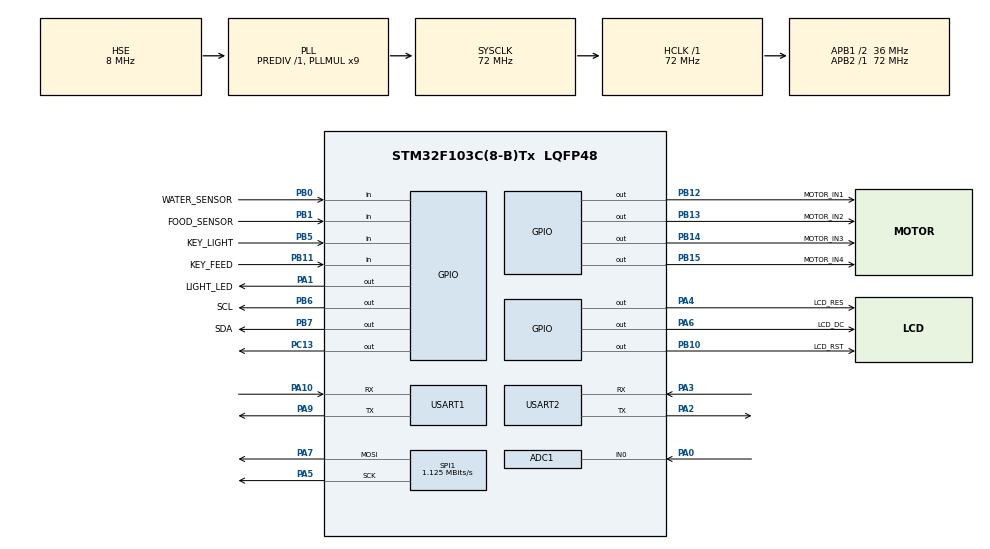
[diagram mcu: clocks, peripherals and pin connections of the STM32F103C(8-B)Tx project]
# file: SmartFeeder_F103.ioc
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ADC1.Channel-0\#ChannelRegularConversion=ADC_CHANNEL_0
ADC1.NbrOfConversionFlag=1
ADC1.Rank-0\#ChannelRegularConversion=1
ADC1.SamplingTime-0\#ChannelRegularConversion=ADC_SAMPLETIME_1CYCLE_5
ADC1.master=1
Mcu.Family=STM32F1
Mcu.Name=STM32F103C(8-B)Tx
Mcu.Package=LQFP48
NVIC.PriorityGroup=NVIC_PRIORITYGROUP_4
NVIC.USART1_IRQn=true\:0\:0\:false\:false\:true\:true\:true\:true
PA0-WKUP.Signal=ADCx_IN0
PA1.GPIO_Label=LIGHT_LED
PA1.Signal=GPIO_Output
PA10.Mode=Asynchronous
PA10.Signal=USART1_RX
PA13.Mode=Serial_Wire
PA13.Signal=SYS_JTMS-SWDIO
PA14.Mode=Serial_Wire
PA14.Signal=SYS_JTCK-SWCLK
PA2.Mode=Asynchronous
PA2.Signal=USART2_TX
PA3.Mode=Asynchronous
PA3.Signal=USART2_RX
PA4.GPIO_Label=LCD_RES
PA4.Signal=GPIO_Output
PA5.Mode=TX_Only_Simplex_Unidirect_Master
PA5.Signal=SPI1_SCK
PA6.GPIO_Label=LCD_DC
PA6.Signal=GPIO_Output
PA7.Mode=TX_Only_Simplex_Unidirect_Master
PA7.Signal=SPI1_MOSI
PA9.Mode=Asynchronous
PA9.Signal=USART1_TX
PB0.GPIO_Label=WATER_SENSOR
PB0.Signal=GPIO_Input
PB1.GPIO_Label=FOOD_SENSOR
PB1.Signal=GPIO_Input
PB10.GPIO_Label=LCD_RST
PB10.Signal=GPIO_Output
PB11.GPIO_Label=KEY_FEED
PB11.GPIO_PuPd=GPIO_PULLUP
PB11.Signal=GPIO_Input
PB12.GPIO_Label=MOTOR_IN1
PB12.Signal=GPIO_Output
PB13.GPIO_Label=MOTOR_IN2
PB13.Signal=GPIO_Output
PB14.GPIO_Label=MOTOR_IN3
PB14.Signal=GPIO_Output
PB15.GPIO_Label=MOTOR_IN4
PB15.Signal=GPIO_Output
PB5.GPIO_Label=KEY_LIGHT
PB5.GPIO_PuPd=GPIO_PULLUP
PB5.Signal=GPIO_Input
PB6.GPIO_Label=SCL
PB6.GPIO_ModeDefaultOutputPP=GPIO_MODE_OUTPUT_OD
PB6.GPIO_PuPd=GPIO_PULLUP
PB6.Signal=GPIO_Output
PB7.GPIO_Label=SDA
PB7.GPIO_ModeDefaultOutputPP=GPIO_MODE_OUTPUT_OD
PB7.GPIO_PuPd=GPIO_PULLUP
PB7.Signal=GPIO_Output
PC13-TAMPER-RTC.PinState=GPIO_PIN_SET
PC13-TAMPER-RTC.Signal=GPIO_Output
PD0-OSC_IN.Mode=HSE-External-Oscillator
PD0-OSC_IN.Signal=RCC_OSC_IN
PD1-OSC_OUT.Mode=HSE-External-Oscillator
PD1-OSC_OUT.Signal=RCC_OSC_OUT
ProjectManager.HeapSize=0x200
ProjectManager.StackSize=0x400
ProjectManager.TargetToolchain=MDK-ARM V5.32
RCC.ADCPresc=RCC_ADCPCLK2_DIV6
RCC.AHBFreq_Value=72000000
RCC.APB1CLKDivider=RCC_HCLK_DIV2
RCC.APB1Freq_Value=36000000
RCC.APB1TimFreq_Value=72000000
RCC.APB2Freq_Value=72000000
RCC.APB2TimFreq_Value=72000000
RCC.HCLKFreq_Value=72000000
RCC.PLLMUL=RCC_PLL_MUL9
RCC.PLLSourceVirtual=RCC_PLLSOURCE_HSE
RCC.SYSCLKFreq_VALUE=72000000
RCC.SYSCLKSource=RCC_SYSCLKSOURCE_PLLCLK
RCC.USBFreq_Value=72000000
RTC.Date=22
RTC.Format=RTC_FORMAT_BIN
RTC.Month=RTC_MONTH_APRIL
RTC.WeekDay=RTC_WEEKDAY_WEDNESDAY
RTC.Year=26
SH.ADCx_IN0.0=ADC1_IN0,IN0
SPI1.BaudRatePrescaler=SPI_BAUDRATEPRESCALER_64
SPI1.CLKPhase=SPI_PHASE_1EDGE
SPI1.CLKPolarity=SPI_POLARITY_LOW
SPI1.CalculateBaudRate=1.125 MBits/s
SPI1.Direction=SPI_DIRECTION_2LINES
SPI1.Mode=SPI_MODE_MASTER
SPI1.VirtualType=VM_MASTER
USART1.VirtualMode=VM_ASYNC
USART2.VirtualMode=VM_ASYNC
VP_RTC_VS_RTC_Activate.Mode=RTC_Enabled
VP_RTC_VS_RTC_Calendar.Mode=RTC_Calendar
board=custom

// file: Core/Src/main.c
/* USER CODE BEGIN Header */
/**
  ******************************************************************************
  * @file           : main.c
  * @brief          : Main program body
  ******************************************************************************
  * @attention
  *
  * Copyright (c) 2026 STMicroelectronics.
  * All rights reserved.
  *
  * This software is licensed under terms that can be found in the LICENSE file
  * in the root directory of this software component.
  * If no LICENSE file comes with this software, it is provided AS-IS.
  *
  ******************************************************************************
  */
/* USER CODE END Header */
#include "main.h"
#include "adc.h"
#include "rtc.h"
#include "spi.h"
#include "usart.h"
#include "gpio.h"

/* USER CODE BEGIN Includes */
#include "bh1750.h"
#include "Lcd_Driver.h"
#include "GUI.h"
#include "dma.h"
#include "esp8266.h"
#include "mqtt.h"
#include "light.h"
#include "motor_28byj.h"
#include "key.h"
#include <stdio.h>
#include <string.h>
#include <stdlib.h>   /* atoi (为下行 feed 命令解 amount 数值) */
/* USER CODE END Includes */

/* USER CODE BEGIN PD */
/* 自动补光阈值 (带迟滞, 防止临界抖动):
 *   lux < LOW  时开灯; lux > HIGH 时关灯
 *   中间区间保持当前状态, 避免 50±50 lux 闪灵时反复开关 */
#define AUTO_LIGHT_LUX_LOW   50.0f
#define AUTO_LIGHT_LUX_HIGH  150.0f

/* 自动喂食冷却时间 (ms): 触发一次后至少等这么久才允许再次自动投喂,
 * 防止食物刚投下还没被传感器检测到就再投一次 */
#define AUTO_FEED_COOLDOWN_MS  60000U   /* 60 秒 */
#define AUTO_FEED_GRAMS        30U      /* 每次自动投喂克数 */
#define PET_CONFIRM_COUNT      5U       /* 连续收到多少帧宠物识别才确认有宠物 */
/* USER CODE END PD */

/* USER CODE BEGIN PV */
/* K210 AI frame state machine: [0xAA, ID, 0x55] */
static uint8_t ai_rx_byte     = 0;
static uint8_t ai_rx_state    = 0;
static uint8_t ai_animal_id   = 0xFF;
static volatile uint8_t  ai_pet_detected  = 0;
static volatile uint8_t  ai_latched_id    = 0xFF; /* 中断中锁存的 ID, 防竞态 */
static uint8_t  ai_detect_count   = 0;   /* 连续识别计数 */
static uint8_t  ai_pet_confirmed  = 0;   /* 1=多帧确认有宠物 */

/* DMA 接收缓冲 + 空闲中断标志 (仿 sht_monitor_stm 方案) */
uint8_t  rx_buffer[256];
volatile uint8_t  rx_flag = 0;
volatile uint16_t rx_len  = 0;

/* Sensor readings */
static RTC_TimeTypeDef g_time;
static RTC_DateTypeDef g_date;
static uint16_t mq135_adc  = 0;
static float    mq135_volt = 0.0f;
static float    bh1750_lux = 0.0f;
static uint8_t  water_low  = 0;
static uint8_t  food_low   = 0;

/* Actuator / user-interaction state */
static uint32_t feed_count_today = 0;   /* 今日已投喂次数 (上电清零) */
static uint8_t  g_manual_mode    = 0;   /* 0=AUTO, 1=MANUAL (小程序下发切换) */
/* USER CODE END PV */

void SystemClock_Config(void);
/* USER CODE BEGIN PFP */
static void Bemfa_Upload_Data(void);
static void Process_Cloud_Command(const char *cmd_buf);
static int  json_get_int(const char *buf, const char *key, int def);
/* USER CODE END PFP */

/* USER CODE BEGIN 0 */
#ifdef __GNUC__
#define PUTCHAR_PROTOTYPE int __io_putchar(int ch)
#else
#define PUTCHAR_PROTOTYPE int fputc(int ch, FILE *f)
#endif

PUTCHAR_PROTOTYPE
{
  HAL_UART_Transmit(&huart1, (uint8_t *)&ch, 1, 0xFFFF);
  return ch;
}
/* USER CODE END 0 */

int main(void)
{

  /* MCU Configuration--------------------------------------------------------*/

  /* Reset of all peripherals, Initializes the Flash interface and the Systick. */
  HAL_Init();

  /* Configure the system clock */
  SystemClock_Config();

  /* Initialize all configured peripherals */
  MX_GPIO_Init();
  MX_USART1_UART_Init();
  MX_DMA_Init();
  MX_USART2_UART_Init();
  MX_ADC1_Init();
  MX_SPI1_Init();
  MX_RTC_Init();
  /* USER CODE BEGIN 2 */
  printf("\r\n==== Smart Feeder Sensor Test ====\r\n");
  HAL_Delay(200);

  HAL_UART_Receive_IT(&huart1, &ai_rx_byte, 1);

  /* STM32F1 ADC requires a one-shot self-calibration after init */
  if (HAL_ADCEx_Calibration_Start(&hadc1) != HAL_OK) {
    printf("[ERR ] ADC1 calibration failed\r\n");
  } else {
    printf("[INIT] ADC1 self-calibration done\r\n");
  }

  BH1750_Init();
  printf("[INIT] BH1750 on PB6(SCL)/PB7(SDA)\r\n");
  printf("[INIT] MQ-135 on PA0 (ADC1_IN0)\r\n");
  printf("[INIT] Water sensor on PB0, Food sensor on PB1\r\n");

  /* --- Actuators & UI --- */
  LIGHT_Init();
  Motor_Init();
  KEY_Init();
  printf("[INIT] Light LED on PA1\r\n");
  printf("[INIT] Motor 28BYJ-48 (ULN2003) on PB12~PB15\r\n");
  printf("[INIT] Keys: KEY_LIGHT=PB5, KEY_FEED=PB11\r\n");

  /* LCD init + static UI frame (4 plain white edges, no 3D box) */
  Lcd_Init();
  Lcd_Clear(BLACK);
  Gui_DrawLine(2,   2, 125,   2, WHITE);   /* top    */
  Gui_DrawLine(2, 157, 125, 157, WHITE);   /* bottom */
  Gui_DrawLine(2,   2,   2, 157, WHITE);   /* left   */
  Gui_DrawLine(125, 2, 125, 157, WHITE);   /* right  */
  Gui_DrawFont_GBK16(5, 5, YELLOW, BLACK, (uint8_t*)"Smart Feeder");
  Gui_DrawLine(2, 25, 125, 25, WHITE);     /* title divider */
  printf("[INIT] LCD ready\r\n");

  /* --- ESP8266 + MQTT (Bemfa) --- */
  /* 字符串控制在 14 个 ASCII 字符内 (14*8=112px), 从 x=5 画到 x=116,
   * 不会覆盖 x=125 处的右侧白边框 */
  Gui_DrawFont_GBK16(5, 135, YELLOW, BLACK, (uint8_t*)"Net: connect..");
  ESP8266_Init();
  HAL_Delay(1000);
  MQTT_Connect(BEMFA_UID);
  HAL_Delay(500);
  MQTT_Subscribe(TOPIC_SUB);
  Gui_DrawFont_GBK16(5, 135, GREEN,  BLACK, (uint8_t*)"Net: MQTT OK  ");
  printf("[INIT] MQTT connected & subscribed\r\n");

  /* Start DMA + UART idle line detection receive (reference: sht_monitor_stm) */
  HAL_UARTEx_ReceiveToIdle_DMA(&huart2, rx_buffer, sizeof(rx_buffer));
  __HAL_DMA_DISABLE_IT(huart2.hdmarx, DMA_IT_HT);
  printf("[INIT] UART2 DMA+Idle RX started\r\n");

  /* --- 开机同步: 向小程序请求时间 + 上报当前模式 --- */
  {
    char sync_buf[80];
    snprintf(sync_buf, sizeof(sync_buf),
             "{\"cmd\":\"get_time\",\"mode\":\"%s\"}",
             g_manual_mode ? "manual" : "auto");
    MQTT_Publish(TOPIC_PUB, sync_buf);
    printf("[SYNC] Published: %s\r\n", sync_buf);

    /* 等待小程序回复时间, 最多 3 秒 */
    Gui_DrawFont_GBK16(5, 135, YELLOW, BLACK, (uint8_t*)"Net: TimSync..");
    uint32_t sync_t0 = HAL_GetTick();
    uint8_t  time_synced = 0;
    while (HAL_GetTick() - sync_t0 < 3000) {
      if (rx_flag) {
        rx_flag = 0;
        uint16_t len = rx_len;
        if (len >= 10) {
          char cmd_buf[256];
          uint16_t copy_len = (len < sizeof(cmd_buf) - 1) ? len : (sizeof(cmd_buf) - 1);
          memcpy(cmd_buf, rx_buffer, copy_len);
          cmd_buf[copy_len] = '\0';
          for (uint16_t i = 0; i < copy_len; i++) {
            if (cmd_buf[i] == '\0') cmd_buf[i] = ' ';
          }
          printf("[SYNC RX] %s\r\n", cmd_buf);
          Process_Cloud_Command(cmd_buf);
          if (strstr(cmd_buf, "\"cmd\":\"time\"")) {
            time_synced = 1;
          }
        }
        memset(rx_buffer, 0, sizeof(rx_buffer));
        HAL_UARTEx_ReceiveToIdle_DMA(&huart2, rx_buffer, sizeof(rx_buffer));
        __HAL_DMA_DISABLE_IT(huart2.hdmarx, DMA_IT_HT);
        if (time_synced) break;
      }
    }
    if (time_synced) {
      printf("[SYNC] Time synchronized OK\r\n");
    } else {
      printf("[SYNC] No time response, using default RTC\r\n");
    }
    Gui_DrawFont_GBK16(5, 135, GREEN, BLACK, (uint8_t*)"Net: WiFi OK  ");
  }

  printf("[INIT] Ready. Sampling every 1s, uploading every 5s.\r\n\r\n");
  /* USER CODE END 2 */

  /* Infinite loop */
  /* USER CODE BEGIN WHILE */
  uint32_t timer_upload = 0;
  uint32_t timer_ping   = 0;
  uint8_t  motor_was_busy = 0;
  uint32_t motor_dbg_tick = 0;
  while (1)
  {
    /* USER CODE END WHILE */

    /* USER CODE BEGIN 3 */
    /* --- 非阻塞任务: 电机步进 + 按键扫描 (必须每轮都跑) --- */
    Motor_Update();

    /* 电机诊断: 每秒打印剩余步数, 结束时打印 DONE */
    if (Motor_IsBusy()) {
      motor_was_busy = 1;
      if (HAL_GetTick() - motor_dbg_tick >= 1000) {
        motor_dbg_tick = HAL_GetTick();
        printf("[MOTOR DBG] remaining=%lu\r\n", (unsigned long)Motor_GetRemainingSteps());
      }
    } else if (motor_was_busy) {
      motor_was_busy = 0;
      printf("[MOTOR DBG] DONE\r\n");
    }

    KEY_Event_t key_ev = KEY_Scan();
    if (key_ev == KEY_EVT_LIGHT_PRESS) {
      LIGHT_Toggle();
      printf("[KEY ] LIGHT toggled -> %s\r\n", LIGHT_IsOn() ? "ON" : "OFF");
    } else if (key_ev == KEY_EVT_FEED_PRESS) {
      if (!Motor_IsBusy()) {
        Motor_StartFeed(MOTOR_KEY_FEED_GRAMS);
        feed_count_today++;
        printf("[KEY ] FEED pressed -> dispense %ug (total=%lu)\r\n",
               (unsigned)MOTOR_KEY_FEED_GRAMS, (unsigned long)feed_count_today);
      } else {
        printf("[KEY ] FEED ignored: motor busy (%lu steps left)\r\n",
               (unsigned long)Motor_GetRemainingSteps());
      }
    }

    /* --- MQTT: publish telemetry every 5 s --- */
    if (HAL_GetTick() - timer_upload >= 5000) {
      timer_upload = HAL_GetTick();
      Bemfa_Upload_Data();
    }

    /* --- MQTT: keep TCP alive every 30 s --- */
    if (HAL_GetTick() - timer_ping >= 30000) {
      timer_ping = HAL_GetTick();
      MQTT_PingREQ();
    }

    /* ============================================================
     *  DMA + UART 空闲中断接收处理 (仿 sht_monitor_stm 方案)
     *  rx_flag 由 HAL_UARTEx_RxEventCallback 在空闲检测时置 1
     * ============================================================ */
    if (rx_flag)
    {
      rx_flag = 0;
      uint16_t len = rx_len;

      /* 收到任何字节都打印 hex, 便于诊断 */
      printf("[CLOUD RX] %u B hex: ", (unsigned)len);
      for (uint16_t i = 0; i < len && i < 80; i++) {
        printf("%02X ", rx_buffer[i]);
      }
      printf("\r\n");

      /* 太短 (<10B) 的基本是 PINGRESP(0xD0 0x00)或噪声, 不走命令分支 */
      if (len >= 10)
      {
        /* 在本地副本上操作, 把 0x00 替成空格让 strstr 能搜到 JSON */
        char cmd_buf[256];
        uint16_t copy_len = (len < sizeof(cmd_buf) - 1) ? len : (sizeof(cmd_buf) - 1);
        memcpy(cmd_buf, rx_buffer, copy_len);
        cmd_buf[copy_len] = '\0';
        for (uint16_t i = 0; i < copy_len; i++) {
          if (cmd_buf[i] == '\0') cmd_buf[i] = ' ';
        }

        printf("[CLOUD RX] text: %s\r\n", cmd_buf);
        Process_Cloud_Command(cmd_buf);
      }

      /* 重新启动 DMA 接收, 等待下一帧 */
      memset(rx_buffer, 0, sizeof(rx_buffer));
      HAL_UARTEx_ReceiveToIdle_DMA(&huart2, rx_buffer, sizeof(rx_buffer));
      __HAL_DMA_DISABLE_IT(huart2.hdmarx, DMA_IT_HT);
    }

    /* Refresh only when RTC second changes, keeps display in sync with real time */
    static uint8_t last_sec = 0xFF;
    HAL_RTC_GetTime(&hrtc, &g_time, RTC_FORMAT_BIN);
    HAL_RTC_GetDate(&hrtc, &g_date, RTC_FORMAT_BIN);
    if (g_time.Seconds == last_sec) {
      if (!Motor_IsBusy()) HAL_Delay(10);
      continue;
    }
    last_sec = g_time.Seconds;

    /* Average 16 samples to suppress residual noise */
    uint32_t adc_sum = 0;
    for (uint8_t i = 0; i < 16; i++) {
      HAL_ADC_Start(&hadc1);
      HAL_ADC_PollForConversion(&hadc1, 10);
      adc_sum += HAL_ADC_GetValue(&hadc1);
      HAL_ADC_Stop(&hadc1);
    }
    mq135_adc  = (uint16_t)(adc_sum >> 4);
    mq135_volt = (float)mq135_adc * 3.3f / 4095.0f;

    /* BH1750: 启动测量 → 利用 180ms 等待期跑 Motor_Update → 读结果 */
    BH1750_StartMeasure();
    {
      uint32_t t0 = HAL_GetTick();
      while (HAL_GetTick() - t0 < 180) {
        Motor_Update();
      }
    }
    bh1750_lux = BH1750_ReadResult();

    /* ================================================
     *  本地自动补光逻辑 (主机时钟粒度: 1s, 由上面 RTC 秒跳触发)
     *    条件: 仅在 AUTO 模式下执行; MANUAL 模式完全听小程序与按键.
     *    阈值迟滞: lux<50 开; lux>150 关; 50~150 之间保持不动.
     * ================================================ */
    if (g_manual_mode == 0) {
      if (bh1750_lux < AUTO_LIGHT_LUX_LOW && !LIGHT_IsOn()) {
        LIGHT_On();
        printf("[AUTO] LIGHT ON  (lux=%.1f < %.1f)\r\n",
               bh1750_lux, AUTO_LIGHT_LUX_LOW);
      } else if (bh1750_lux > AUTO_LIGHT_LUX_HIGH && LIGHT_IsOn()) {
        LIGHT_Off();
        printf("[AUTO] LIGHT OFF (lux=%.1f > %.1f)\r\n",
               bh1750_lux, AUTO_LIGHT_LUX_HIGH);
      }
    }

    water_low = HAL_GPIO_ReadPin(WATER_SENSOR_GPIO_Port, WATER_SENSOR_Pin);
    food_low  = HAL_GPIO_ReadPin(FOOD_SENSOR_GPIO_Port,  FOOD_SENSOR_Pin);

    /* ================================================
     *  AI 宠物识别防抖动 (先于自动喂食判定, 保证同一秒生效)
     *    衰减式: 每识别到宠物 +1, 未识别到 -1 (不清零)
     * ================================================ */
    if (ai_pet_detected) {
      ai_pet_detected = 0;
      uint8_t id = ai_latched_id;
      if (id != 0xFF) {
        if (ai_detect_count < 255) ai_detect_count++;
      } else {
        if (ai_detect_count > 0) ai_detect_count--;
      }
      ai_pet_confirmed = (ai_detect_count >= PET_CONFIRM_COUNT) ? 1 : 0;
    }

    /* ================================================
     *  本地自动喂食逻辑
     *    条件: AUTO 模式 + 食盆空 + K210 检测到宠物 + 电机空闲 + 冷却期已过
     * ================================================ */
    {
      static uint32_t last_auto_feed_tick = 0;
      if (g_manual_mode == 0
          && food_low
          && ai_pet_confirmed
          && !Motor_IsBusy()
          && (HAL_GetTick() - last_auto_feed_tick >= AUTO_FEED_COOLDOWN_MS))
      {
        Motor_StartFeed(AUTO_FEED_GRAMS);
        feed_count_today++;
        last_auto_feed_tick = HAL_GetTick();
        printf("[AUTO] FEED %ug (food=LOW, pet=%u, cnt=%u, total=%lu)\r\n",
               (unsigned)AUTO_FEED_GRAMS, (unsigned)ai_latched_id,
               (unsigned)ai_detect_count, (unsigned long)feed_count_today);
      }
    }

    /* --- Serial log --- */
    printf("[%02d:%02d:%02d] MQ135=%4u(%.2fV) | Lux=%7.1f | Water=%s | Food=%s",
           g_time.Hours, g_time.Minutes, g_time.Seconds,
           mq135_adc, mq135_volt, bh1750_lux,
           water_low ? "LOW " : "OK  ",
           food_low  ? "LOW " : "OK  ");

    /* --- LCD update (trailing spaces overwrite previous longer strings) --- */
    char lcd_buf[24];

    snprintf(lcd_buf, sizeof(lcd_buf), "Time %02d:%02d:%02d", g_time.Hours, g_time.Minutes, g_time.Seconds);
    Gui_DrawFont_GBK16(5, 30, WHITE, BLACK, (uint8_t*)lcd_buf);
    Motor_Update();

    snprintf(lcd_buf, sizeof(lcd_buf), "Lux  %7.1f ", bh1750_lux);
    Gui_DrawFont_GBK16(5, 50, GREEN, BLACK, (uint8_t*)lcd_buf);
    Motor_Update();

    snprintf(lcd_buf, sizeof(lcd_buf), "Air  %5u    ", mq135_adc);
    Gui_DrawFont_GBK16(5, 70, GREEN, BLACK, (uint8_t*)lcd_buf);
    Motor_Update();

    /* Water + Food 合并成一行, 左右两段分别按状态着色 */
    Gui_DrawFont_GBK16( 5, 90, water_low ? RED : GREEN, BLACK,
                       (uint8_t*)(water_low ? "W:LO" : "W:OK"));
    Gui_DrawFont_GBK16(70, 90, food_low  ? RED : GREEN, BLACK,
                       (uint8_t*)(food_low  ? "F:LO" : "F:OK"));
    Motor_Update();

    /* AI: K210 识别结果持续显示在原 Food 位置(y=110).
     * 尾部补空格是为了覆盖掉上一轮更长字符串的残留像素. */
    const char *ai_name = (ai_animal_id == 0)    ? "Cat       " :
                          (ai_animal_id == 1)    ? "Dog       " :
                          (ai_animal_id == 2)    ? "Rabbit    " :
                          (ai_animal_id == 0xFF) ? "---       " :
                                                   "Unknown   ";
    snprintf(lcd_buf, sizeof(lcd_buf), "AI: %s", ai_name);
    Gui_DrawFont_GBK16(5, 110, YELLOW, BLACK, (uint8_t*)lcd_buf);
    Motor_Update();

    /* AI 识别状态日志 */
    printf(" | AI=%s(%u%s)",
           ai_name, (unsigned)ai_detect_count,
           ai_pet_confirmed ? "*" : "");
    printf("\r\n");
  }
  /* USER CODE END 3 */
}

void SystemClock_Config(void)
{
  RCC_OscInitTypeDef RCC_OscInitStruct = {0};
  RCC_ClkInitTypeDef RCC_ClkInitStruct = {0};
  RCC_PeriphCLKInitTypeDef PeriphClkInit = {0};

  /** Initializes the RCC Oscillators according to the specified parameters
  * in the RCC_OscInitTypeDef structure.
  */
  RCC_OscInitStruct.OscillatorType = RCC_OSCILLATORTYPE_LSI|RCC_OSCILLATORTYPE_HSE;
  RCC_OscInitStruct.HSEState = RCC_HSE_ON;
  RCC_OscInitStruct.HSEPredivValue = RCC_HSE_PREDIV_DIV1;
  RCC_OscInitStruct.HSIState = RCC_HSI_ON;
  RCC_OscInitStruct.LSIState = RCC_LSI_ON;
  RCC_OscInitStruct.PLL.PLLState = RCC_PLL_ON;
  RCC_OscInitStruct.PLL.PLLSource = RCC_PLLSOURCE_HSE;
  RCC_OscInitStruct.PLL.PLLMUL = RCC_PLL_MUL9;
  if (HAL_RCC_OscConfig(&RCC_OscInitStruct) != HAL_OK)
  {
    Error_Handler();
  }

  /** Initializes the CPU, AHB and APB buses clocks
  */
  RCC_ClkInitStruct.ClockType = RCC_CLOCKTYPE_HCLK|RCC_CLOCKTYPE_SYSCLK
                              |RCC_CLOCKTYPE_PCLK1|RCC_CLOCKTYPE_PCLK2;
  RCC_ClkInitStruct.SYSCLKSource = RCC_SYSCLKSOURCE_PLLCLK;
  RCC_ClkInitStruct.AHBCLKDivider = RCC_SYSCLK_DIV1;
  RCC_ClkInitStruct.APB1CLKDivider = RCC_HCLK_DIV2;
  RCC_ClkInitStruct.APB2CLKDivider = RCC_HCLK_DIV1;

  if (HAL_RCC_ClockConfig(&RCC_ClkInitStruct, FLASH_LATENCY_2) != HAL_OK)
  {
    Error_Handler();
  }
  PeriphClkInit.PeriphClockSelection = RCC_PERIPHCLK_RTC|RCC_PERIPHCLK_ADC;
  PeriphClkInit.RTCClockSelection = RCC_RTCCLKSOURCE_LSI;
  PeriphClkInit.AdcClockSelection = RCC_ADCPCLK2_DIV6;
  if (HAL_RCCEx_PeriphCLKConfig(&PeriphClkInit) != HAL_OK)
  {
    Error_Handler();
  }
}

/* USER CODE BEGIN 4 */
/**
  * @brief  Extract an integer value from a JSON key like "h":17
  * @param  buf:  null-terminated string to search
  * @param  key:  JSON key including quotes, e.g. "\"h\""
  * @param  def:  default value if key not found
  * @retval parsed integer or def
  */
static int json_get_int(const char *buf, const char *key, int def)
{
  const char *p = strstr(buf, key);
  if (!p) return def;
  p = strchr(p, ':');
  if (!p) return def;
  p++;
  while (*p == ' ' || *p == '"') p++;
  return atoi(p);
}

/**
  * @brief  Process a cloud command string (shared by boot sync & main loop).
  *         Supported commands:
  *           {"cmd":"light","value":"on"/"off"}
  *           {"cmd":"feed","amount":30}
  *           {"cmd":"mode","value":"auto"/"manual"}
  *           {"cmd":"time","h":17,"m":30,"s":0,"Y":2026,"M":4,"D":24}
  */
static void Process_Cloud_Command(const char *cmd_buf)
{
  /* --- 时间校准 --- */
  if (strstr(cmd_buf, "\"cmd\":\"time\"")) {
    int h = json_get_int(cmd_buf, "\"h\"", -1);
    int m = json_get_int(cmd_buf, "\"m\"", -1);
    int s = json_get_int(cmd_buf, "\"s\"",  0);
    int Y = json_get_int(cmd_buf, "\"Y\"", -1);
    int M = json_get_int(cmd_buf, "\"M\"", -1);
    int D = json_get_int(cmd_buf, "\"D\"", -1);

    if (h >= 0 && h <= 23 && m >= 0 && m <= 59) {
      RTC_TimeTypeDef sTime = {0};
      sTime.Hours   = (uint8_t)h;
      sTime.Minutes = (uint8_t)m;
      sTime.Seconds = (uint8_t)s;
      HAL_RTC_SetTime(&hrtc, &sTime, RTC_FORMAT_BIN);
      printf("[CLOUD] TIME -> %02d:%02d:%02d\r\n", h, m, s);

      if (Y > 2000 && M >= 1 && M <= 12 && D >= 1 && D <= 31) {
        RTC_DateTypeDef sDate = {0};
        sDate.Year    = (uint8_t)(Y - 2000);
        sDate.Month   = (uint8_t)M;
        sDate.Date    = (uint8_t)D;
        HAL_RTC_SetDate(&hrtc, &sDate, RTC_FORMAT_BIN);
        printf("[CLOUD] DATE -> %04d-%02d-%02d\r\n", Y, M, D);
      }
    }
  }
  /* --- 补光灯 --- */
  else if (strstr(cmd_buf, "\"cmd\":\"light\"")) {
    if (strstr(cmd_buf, "\"value\":\"on\"")) {
      LIGHT_On();
      printf("[CLOUD] LIGHT -> ON\r\n");
    } else if (strstr(cmd_buf, "\"value\":\"off\"")) {
      LIGHT_Off();
      printf("[CLOUD] LIGHT -> OFF\r\n");
    }
  }
  /* --- 立即投喂 --- */
  else if (strstr(cmd_buf, "\"cmd\":\"feed\"")) {
    uint16_t grams = 30;
    int v = json_get_int(cmd_buf, "\"amount\"", 30);
    if (v > 0 && v <= 500) grams = (uint16_t)v;
    if (!Motor_IsBusy()) {
      Motor_StartFeed(grams);
      feed_count_today++;
      printf("[CLOUD] FEED -> %u g (total=%lu)\r\n",
             (unsigned)grams, (unsigned long)feed_count_today);
    } else {
      printf("[CLOUD] FEED ignored: motor busy (%lu steps left)\r\n",
             (unsigned long)Motor_GetRemainingSteps());
    }
  }
  /* --- 运行模式 --- */
  else if (strstr(cmd_buf, "\"cmd\":\"mode\"")) {
    if (strstr(cmd_buf, "\"value\":\"auto\"")) {
      g_manual_mode = 0;
      printf("[CLOUD] MODE -> AUTO\r\n");
    } else if (strstr(cmd_buf, "\"value\":\"manual\"")) {
      g_manual_mode = 1;
      printf("[CLOUD] MODE -> MANUAL\r\n");
    }
  }
}

/**
  * @brief  Build a compact JSON snapshot and publish to Bemfa MQTT.
  *         Payload example:
  *           {"air":1800,"lux":254.2,"water":0,"food":0,"pet":255,"light":1,"feed_cnt":3}
  */
static void Bemfa_Upload_Data(void)
{
  char json[160];
  int n = snprintf(json, sizeof(json),
      "{\"air\":%u,\"lux\":%.1f,\"water\":%u,\"food\":%u,\"pet\":%u,"
      "\"light\":%u,\"feed_cnt\":%lu}",
      (unsigned)mq135_adc,
      bh1750_lux,
      (unsigned)(water_low ? 1 : 0),
      (unsigned)(food_low  ? 1 : 0),
      (unsigned)ai_animal_id,
      (unsigned)(LIGHT_IsOn() ? 1 : 0),
      (unsigned long)feed_count_today);
  if (n > 0 && n < (int)sizeof(json)) {
    MQTT_Publish(TOPIC_PUB, json);
    printf("[MQTT TX] %s\r\n", json);
  }
}

/**
  * @brief  UART1 RX callback: parse K210 AI frame [0xAA, ID, 0x55].
  */
void HAL_UART_RxCpltCallback(UART_HandleTypeDef *huart)
{
  if (huart->Instance == USART1)
  {
    /* K210 AI 帧解析: [0xAA, ID, 0x55] */
    switch (ai_rx_state)
    {
      case 0:
        if (ai_rx_byte == 0xAA) ai_rx_state = 1;
        break;
      case 1:
        ai_animal_id = ai_rx_byte;
        ai_rx_state  = 2;
        break;
      case 2:
        if (ai_rx_byte == 0x55) {
          ai_latched_id   = ai_animal_id;
          ai_pet_detected = 1;
        }
        ai_rx_state = 0;
        break;
      default:
        ai_rx_state = 0;
        break;
    }
    HAL_UART_Receive_IT(&huart1, &ai_rx_byte, 1);
  }
}

/**
  * @brief  UART RxEvent callback (DMA + idle line detection).
  *         Called when UART idle is detected after DMA reception.
  */
void HAL_UARTEx_RxEventCallback(UART_HandleTypeDef *huart, uint16_t Size)
{
  if (huart->Instance == USART2)
  {
    rx_len  = Size;
    rx_flag = 1;
  }
}
/* USER CODE END 4 */

void Error_Handler(void)
{
  __disable_irq();
  while (1)
  {
  }
}
